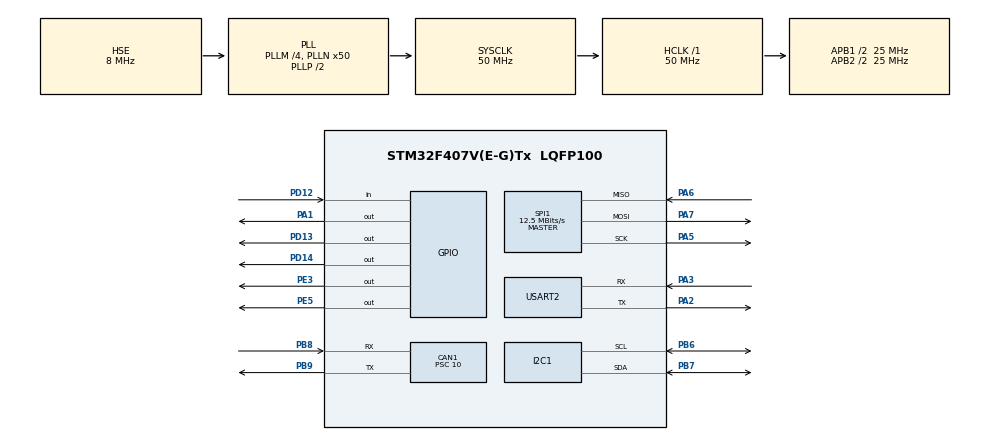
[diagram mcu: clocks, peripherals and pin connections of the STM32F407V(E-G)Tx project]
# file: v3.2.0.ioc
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CAN1.BS1=CAN_BS1_2TQ
CAN1.BS2=CAN_BS2_2TQ
CAN1.CalculateBaudRate=500000
CAN1.CalculateTimeBit=2000
CAN1.CalculateTimeQuantum=400.0
CAN1.Prescaler=10
IWDG.Prescaler=IWDG_PRESCALER_32
IWDG.Reload=2000
Mcu.Family=STM32F4
Mcu.Name=STM32F407V(E-G)Tx
Mcu.Package=LQFP100
NVIC.CAN1_RX0_IRQn=true\:0\:0\:false\:false\:true\:true\:true\:true
NVIC.PriorityGroup=NVIC_PRIORITYGROUP_0
PA1.Signal=GPIO_Output
PA2.Mode=Asynchronous
PA2.Signal=USART2_TX
PA3.Mode=Asynchronous
PA3.Signal=USART2_RX
PA5.Mode=Full_Duplex_Master
PA5.Signal=SPI1_SCK
PA6.Mode=Full_Duplex_Master
PA6.Signal=SPI1_MISO
PA7.Mode=Full_Duplex_Master
PA7.Signal=SPI1_MOSI
PB6.Mode=I2C
PB6.Signal=I2C1_SCL
PB7.Mode=I2C
PB7.Signal=I2C1_SDA
PB8.Mode=CAN_Activate
PB8.Signal=CAN1_RX
PB9.Mode=CAN_Activate
PB9.Signal=CAN1_TX
PD12.Signal=GPIO_Input
PD13.Signal=GPIO_Output
PD14.Signal=GPIO_Output
PE3.Signal=GPIO_Output
PE5.Signal=GPIO_Output
PH0-OSC_IN.Mode=HSE-External-Oscillator
PH0-OSC_IN.Signal=RCC_OSC_IN
PH1-OSC_OUT.Mode=HSE-External-Oscillator
PH1-OSC_OUT.Signal=RCC_OSC_OUT
ProjectManager.HeapSize=0x200
ProjectManager.StackSize=0x400
ProjectManager.TargetToolchain=STM32CubeIDE
RCC.48MHZClocksFreq_Value=14285714.285714285
RCC.AHBFreq_Value=50000000
RCC.APB1CLKDivider=RCC_HCLK_DIV2
RCC.APB1Freq_Value=25000000
RCC.APB1TimFreq_Value=50000000
RCC.APB2CLKDivider=RCC_HCLK_DIV2
RCC.APB2Freq_Value=25000000
RCC.APB2TimFreq_Value=50000000
RCC.CortexFreq_Value=50000000
RCC.HCLKFreq_Value=50000000
RCC.HSE_VALUE=8000000
RCC.HSI_VALUE=16000000
RCC.LSE_VALUE=32768
RCC.PLLM=4
RCC.PLLN=50
RCC.PLLQ=7
RCC.PLLSourceVirtual=RCC_PLLSOURCE_HSE
RCC.SYSCLKFreq_VALUE=50000000
RCC.SYSCLKSource=RCC_SYSCLKSOURCE_PLLCLK
RCC.VCOOutputFreq_Value=100000000
SPI1.CalculateBaudRate=12.5 MBits/s
SPI1.Direction=SPI_DIRECTION_2LINES
SPI1.Mode=SPI_MODE_MASTER
SPI1.VirtualType=VM_MASTER
TIM6.Period=0xffff-1
TIM6.Prescaler=50-1
USART2.VirtualMode=VM_ASYNC
VP_IWDG_VS_IWDG.Mode=IWDG_Activate
VP_TIM6_VS_ClockSourceINT.Mode=Enable_Timer
board=STM32F407G-DISC1

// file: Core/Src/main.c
* USER CODE BEGIN Header */
/**
  ******************************************************************************
  * @file           : main.c
  * @brief          : Main program body
  ******************************************************************************
  * @attention
  *
  * Copyright (c) 2026 STMicroelectronics.
  * All rights reserved.
  *
  * This software is licensed under terms that can be found in the LICENSE file
  * in the root directory of this software component.
  * If no LICENSE file comes with this software, it is provided AS-IS.
  *
  ******************************************************************************
  */
/* USER CODE END Header */
#include "main.h"

/* USER CODE BEGIN Includes */
#include <stdio.h>
#include "dht22.h"
#include "accel.h"
#include "hx710b.h"
#include "ina219.h"
/* USER CODE END Includes */

CAN_HandleTypeDef hcan1;

I2C_HandleTypeDef hi2c1;

IWDG_HandleTypeDef hiwdg;

SPI_HandleTypeDef hspi1;

TIM_HandleTypeDef htim6;

UART_HandleTypeDef huart2;

void SystemClock_Config(void);
static void MX_GPIO_Init(void);
static void MX_CAN1_Init(void);
static void MX_TIM6_Init(void);
static void MX_USART2_UART_Init(void);
static void MX_SPI1_Init(void);
static void MX_I2C1_Init(void);
static void MX_IWDG_Init(void);

/* USER CODE BEGIN 0 */

uint8_t checksum, i;

uint8_t TxData[8];		// Transmit data buffer

typedef enum {
	CAN_Message_Temperature 	= 0xA9,
	CAN_Message_Pressure 		= 0xAA,
	CAN_Message_Acceleration 	= 0xAB,
	CAN_Message_Battery 		= 0xAC,

}CAN_MessageID;

void Send_To_CAN(CAN_MessageID CanStdId, uint8_t * CanData, uint8_t DataLenght){
	CAN_TxHeaderTypeDef TxHeader;
	uint32_t TxMailbox;
	TxHeader.DLC = DataLenght;
	TxHeader.IDE = CAN_ID_STD;
	TxHeader.RTR = CAN_RTR_DATA;
	TxHeader.StdId = CanStdId;
	TxHeader.ExtId = 0x00;
	TxHeader.TransmitGlobalTime = DISABLE;
	if(HAL_CAN_AddTxMessage(&hcan1, &TxHeader, CanData, &TxMailbox) != HAL_OK)
		Error_Handler();

}

uint8_t IWDG_IsReset(){
	if(RCC->CSR & (1<<29))
		return 1;
	return 0;
}

/* USER CODE END 0 */

int main(void)
{

  /* USER CODE BEGIN 1 */

	char msg[64];

  /* USER CODE END 1 */

  /* MCU Configuration--------------------------------------------------------*/

  /* Reset of all peripherals, Initializes the Flash interface and the Systick. */
  HAL_Init();

  /* Configure the system clock */
  SystemClock_Config();

  /* Initialize all configured peripherals */
  MX_GPIO_Init();
  MX_CAN1_Init();
  MX_TIM6_Init();
  MX_USART2_UART_Init();
  MX_SPI1_Init();
  MX_I2C1_Init();
  INA219_init(&hi2c1);
  INA219_Calibrate(&hi2c1, 4096);
  MX_IWDG_Init();
  /* USER CODE BEGIN 2 */

  if(IWDG_IsReset()){
	  for(uint8_t i=0; i<10; i++){
		  HAL_GPIO_TogglePin(GPIOD, GPIO_PIN_14);
		  HAL_Delay(200);
	  }
  }

  if(HAL_CAN_Start(&hcan1) != HAL_OK)
	  Error_Handler();

  if(HAL_TIM_Base_Start(&htim6) != HAL_OK)   // for us Delay
  	  Error_Handler();

  LIS3DSH_Init(&hspi1, GPIOE, GPIO_PIN_3);

  sprintf(msg, "UART initialized..\r\n");
  HAL_UART_Transmit(&huart2, (uint8_t *)msg, strlen(msg), HAL_MAX_DELAY);

  /* USER CODE END 2 */

  /* Infinite loop */
  while (1)
  {

    /* USER CODE BEGIN 3 */

	 	 // Accelerometer code Start-------------------------------------------------------------------------->

		LIS3DSH_WaitForDataAvail(&hspi1, GPIOE, GPIO_PIN_3);
		LIS3DSH_ReadDataArray(&hspi1, GPIOE, GPIO_PIN_3, TxData);
		Send_To_CAN(CAN_Message_Acceleration, TxData, 6);
		HAL_Delay(3);

	  	  int16_t x = (int16_t)((TxData[1]<<8)|TxData[0]);
	  	  int16_t y = (int16_t)((TxData[3]<<8)|TxData[2]);
	  	  int16_t z = (int16_t)((TxData[5]<<8)|TxData[4]);

	  	  sprintf(msg,"x = %d, y = %d, z = %d\r\n",x,y,z);
	  	  HAL_UART_Transmit(&huart2, msg, strlen(msg), HAL_MAX_DELAY);

	  // DHT22 code Start-------------------------------------------------------------------------->

	  	  Start_Signal();
	 	  if (!check_response()) {
	 		 sprintf(msg, "No Response from the Sensor!\r\n");
	 		 HAL_UART_Transmit(&huart2,(uint8_t *)msg, strlen(msg), HAL_MAX_DELAY);
	 		 continue;
	 	  }

	 	 TxData[0] = read_byte();
	 	 TxData[1] = read_byte();
	 	 TxData[2] = read_byte();
	 	 TxData[3] = read_byte();
	 	 checksum = read_byte();

	 	 if (checksum != ((TxData[0] + TxData[1] + TxData[2] + TxData[3]) & 0xFF)) {
	 		 sprintf(msg, "Checksum Error!\r\n");
	 		 HAL_UART_Transmit(&huart2, (uint8_t *)msg, strlen(msg), HAL_MAX_DELAY);
	 		HAL_Delay(1000);
	 		 continue;
	 	 }

	 	 Send_To_CAN(CAN_Message_Temperature, TxData, 4);
	 	HAL_Delay(3);

	 	sprintf(msg,
	 	        "RH: %d%%, Temp: %dC\r\n",
	 	        TxData[0],
	 	        TxData[2]);
	 	HAL_UART_Transmit(&huart2,
	 	                  (uint8_t *)msg,
	 	                  strlen(msg),
	 	                  HAL_MAX_DELAY);
	 	HAL_Delay(500);

	 	 // DHT22 code end-------------------------------------------------------------------------->

	 	 // hx710b code start-------------------------------------------------------------------------->

	 	uint32_t hx710b_data = convertToPa( readHX710B());
	 	sprintf(msg, "Pressure = %lu Pa\r\n", (unsigned long)hx710b_data);
	 	HAL_UART_Transmit(&huart2,
	 	                  (uint8_t *)msg,
	 	                  strlen(msg),
	 	                  HAL_MAX_DELAY);
//
	 	TxData[0]= (uint8_t)(hx710b_data >> 16) & 0xFFFF;
	 	TxData[1]= (uint8_t)(hx710b_data >> 8) & 0xFFFF;
	 	TxData[2]= (uint8_t) hx710b_data & 0xFFFF;
//
	 	Send_To_CAN(CAN_Message_Pressure, TxData, 3);

	 	// hx710b code end-------------------------------------------------------------------------->

	 	// ina219 code start-------------------------------------------------------------------------->
	 	float voltage = INA219_GetBusVoltage(&hi2c1);
	 	float current = INA219_GetCurrent(&hi2c1);

	 	sprintf(msg, "Voltage=%d Current=%.4fA\r\n",(int)(voltage * 100),current);

	 	HAL_UART_Transmit(&huart2,
	 	                  (uint8_t *)msg,
	 	                  strlen(msg),
	 	                  HAL_MAX_DELAY);

	 	uint16_t voltage_mV = (uint16_t)(voltage * 1000);
	 	int16_t current_mA  = (int16_t)(current * 1000);

	 	TxData[0] = voltage_mV >> 8;
	 	TxData[1] = voltage_mV & 0xFF;

	 	TxData[2] = current_mA >> 8;
	 	TxData[3] = current_mA & 0xFF;

	 	Send_To_CAN(CAN_Message_Battery, TxData, 4);

	 	// ina219 code end-------------------------------------------------------------------------->

	 	HAL_IWDG_Refresh(&hiwdg);

  }
  /* USER CODE END 3 */
}

void SystemClock_Config(void)
{
  RCC_OscInitTypeDef RCC_OscInitStruct = {0};
  RCC_ClkInitTypeDef RCC_ClkInitStruct = {0};

  /** Configure the main internal regulator output voltage
  */
  __HAL_RCC_PWR_CLK_ENABLE();
  __HAL_PWR_VOLTAGESCALING_CONFIG(PWR_REGULATOR_VOLTAGE_SCALE1);

  /** Initializes the RCC Oscillators according to the specified parameters
  * in the RCC_OscInitTypeDef structure.
  */
  RCC_OscInitStruct.OscillatorType = RCC_OSCILLATORTYPE_LSI|RCC_OSCILLATORTYPE_HSE;
  RCC_OscInitStruct.HSEState = RCC_HSE_ON;
  RCC_OscInitStruct.LSIState = RCC_LSI_ON;
  RCC_OscInitStruct.PLL.PLLState = RCC_PLL_ON;
  RCC_OscInitStruct.PLL.PLLSource = RCC_PLLSOURCE_HSE;
  RCC_OscInitStruct.PLL.PLLM = 4;
  RCC_OscInitStruct.PLL.PLLN = 50;
  RCC_OscInitStruct.PLL.PLLP = RCC_PLLP_DIV2;
  RCC_OscInitStruct.PLL.PLLQ = 7;
  if (HAL_RCC_OscConfig(&RCC_OscInitStruct) != HAL_OK)
  {
    Error_Handler();
  }

  /** Initializes the CPU, AHB and APB buses clocks
  */
  RCC_ClkInitStruct.ClockType = RCC_CLOCKTYPE_HCLK|RCC_CLOCKTYPE_SYSCLK
                              |RCC_CLOCKTYPE_PCLK1|RCC_CLOCKTYPE_PCLK2;
  RCC_ClkInitStruct.SYSCLKSource = RCC_SYSCLKSOURCE_PLLCLK;
  RCC_ClkInitStruct.AHBCLKDivider = RCC_SYSCLK_DIV1;
  RCC_ClkInitStruct.APB1CLKDivider = RCC_HCLK_DIV2;
  RCC_ClkInitStruct.APB2CLKDivider = RCC_HCLK_DIV2;

  if (HAL_RCC_ClockConfig(&RCC_ClkInitStruct, FLASH_LATENCY_1) != HAL_OK)
  {
    Error_Handler();
  }
}

static void MX_CAN1_Init(void)
{

  hcan1.Instance = CAN1;
  hcan1.Init.Prescaler = 10;
  hcan1.Init.Mode = CAN_MODE_NORMAL;
  hcan1.Init.SyncJumpWidth = CAN_SJW_1TQ;
  hcan1.Init.TimeSeg1 = CAN_BS1_2TQ;
  hcan1.Init.TimeSeg2 = CAN_BS2_2TQ;
  hcan1.Init.TimeTriggeredMode = DISABLE;
  hcan1.Init.AutoBusOff = DISABLE;
  hcan1.Init.AutoWakeUp = DISABLE;
  hcan1.Init.AutoRetransmission = DISABLE;
  hcan1.Init.ReceiveFifoLocked = DISABLE;
  hcan1.Init.TransmitFifoPriority = DISABLE;
  if (HAL_CAN_Init(&hcan1) != HAL_OK)
  {
    Error_Handler();
  }

}

static void MX_I2C1_Init(void)
{

  hi2c1.Instance = I2C1;
  hi2c1.Init.ClockSpeed = 100000;
  hi2c1.Init.DutyCycle = I2C_DUTYCYCLE_2;
  hi2c1.Init.OwnAddress1 = 0;
  hi2c1.Init.AddressingMode = I2C_ADDRESSINGMODE_7BIT;
  hi2c1.Init.DualAddressMode = I2C_DUALADDRESS_DISABLE;
  hi2c1.Init.OwnAddress2 = 0;
  hi2c1.Init.GeneralCallMode = I2C_GENERALCALL_DISABLE;
  hi2c1.Init.NoStretchMode = I2C_NOSTRETCH_DISABLE;
  if (HAL_I2C_Init(&hi2c1) != HAL_OK)
  {
    Error_Handler();
  }

}

static void MX_IWDG_Init(void)
{

  hiwdg.Instance = IWDG;
  hiwdg.Init.Prescaler = IWDG_PRESCALER_32;
  hiwdg.Init.Reload = 2000;
  if (HAL_IWDG_Init(&hiwdg) != HAL_OK)
  {
    Error_Handler();
  }

}

static void MX_SPI1_Init(void)
{

  /* SPI1 parameter configuration*/
  hspi1.Instance = SPI1;
  hspi1.Init.Mode = SPI_MODE_MASTER;
  hspi1.Init.Direction = SPI_DIRECTION_2LINES;
  hspi1.Init.DataSize = SPI_DATASIZE_8BIT;
  hspi1.Init.CLKPolarity = SPI_POLARITY_LOW;
  hspi1.Init.CLKPhase = SPI_PHASE_1EDGE;
  hspi1.Init.NSS = SPI_NSS_SOFT;
  hspi1.Init.BaudRatePrescaler = SPI_BAUDRATEPRESCALER_2;
  hspi1.Init.FirstBit = SPI_FIRSTBIT_MSB;
  hspi1.Init.TIMode = SPI_TIMODE_DISABLE;
  hspi1.Init.CRCCalculation = SPI_CRCCALCULATION_DISABLE;
  hspi1.Init.CRCPolynomial = 10;
  if (HAL_SPI_Init(&hspi1) != HAL_OK)
  {
    Error_Handler();
  }

}

static void MX_TIM6_Init(void)
{

  TIM_MasterConfigTypeDef sMasterConfig = {0};

  htim6.Instance = TIM6;
  htim6.Init.Prescaler = 50-1;
  htim6.Init.CounterMode = TIM_COUNTERMODE_UP;
  htim6.Init.Period = 0xffff-1;
  htim6.Init.AutoReloadPreload = TIM_AUTORELOAD_PRELOAD_DISABLE;
  if (HAL_TIM_Base_Init(&htim6) != HAL_OK)
  {
    Error_Handler();
  }
  sMasterConfig.MasterOutputTrigger = TIM_TRGO_RESET;
  sMasterConfig.MasterSlaveMode = TIM_MASTERSLAVEMODE_DISABLE;
  if (HAL_TIMEx_MasterConfigSynchronization(&htim6, &sMasterConfig) != HAL_OK)
  {
    Error_Handler();
  }

}

static void MX_USART2_UART_Init(void)
{

  huart2.Instance = USART2;
  huart2.Init.BaudRate = 115200;
  huart2.Init.WordLength = UART_WORDLENGTH_8B;
  huart2.Init.StopBits = UART_STOPBITS_1;
  huart2.Init.Parity = UART_PARITY_NONE;
  huart2.Init.Mode = UART_MODE_TX_RX;
  huart2.Init.HwFlowCtl = UART_HWCONTROL_NONE;
  huart2.Init.OverSampling = UART_OVERSAMPLING_16;
  if (HAL_UART_Init(&huart2) != HAL_OK)
  {
    Error_Handler();
  }

}

static void MX_GPIO_Init(void)
{
  GPIO_InitTypeDef GPIO_InitStruct = {0};

  /* GPIO Ports Clock Enable */
  __HAL_RCC_GPIOE_CLK_ENABLE();
  __HAL_RCC_GPIOH_CLK_ENABLE();
  __HAL_RCC_GPIOA_CLK_ENABLE();
  __HAL_RCC_GPIOD_CLK_ENABLE();
  __HAL_RCC_GPIOB_CLK_ENABLE();

  /*Configure GPIO pin Output Level */
  HAL_GPIO_WritePin(GPIOE, GPIO_PIN_3|GPIO_PIN_5, GPIO_PIN_RESET);

  /*Configure GPIO pin Output Level */
  HAL_GPIO_WritePin(GPIOA, GPIO_PIN_1, GPIO_PIN_RESET);

  /*Configure GPIO pin Output Level */
  HAL_GPIO_WritePin(GPIOD, GPIO_PIN_13|GPIO_PIN_14, GPIO_PIN_RESET);

  /*Configure GPIO pins : PE3 PE5 */
  GPIO_InitStruct.Pin = GPIO_PIN_3|GPIO_PIN_5;
  GPIO_InitStruct.Mode = GPIO_MODE_OUTPUT_PP;
  GPIO_InitStruct.Pull = GPIO_NOPULL;
  GPIO_InitStruct.Speed = GPIO_SPEED_FREQ_LOW;
  HAL_GPIO_Init(GPIOE, &GPIO_InitStruct);

  /*Configure GPIO pin : PA1 */
  GPIO_InitStruct.Pin = GPIO_PIN_1;
  GPIO_InitStruct.Mode = GPIO_MODE_OUTPUT_PP;
  GPIO_InitStruct.Pull = GPIO_NOPULL;
  GPIO_InitStruct.Speed = GPIO_SPEED_FREQ_LOW;
  HAL_GPIO_Init(GPIOA, &GPIO_InitStruct);

  /*Configure GPIO pin : PD12 */
  GPIO_InitStruct.Pin = GPIO_PIN_12;
  GPIO_InitStruct.Mode = GPIO_MODE_INPUT;
  GPIO_InitStruct.Pull = GPIO_NOPULL;
  HAL_GPIO_Init(GPIOD, &GPIO_InitStruct);

  /*Configure GPIO pins : PD13 PD14 */
  GPIO_InitStruct.Pin = GPIO_PIN_13|GPIO_PIN_14;
  GPIO_InitStruct.Mode = GPIO_MODE_OUTPUT_PP;
  GPIO_InitStruct.Pull = GPIO_NOPULL;
  GPIO_InitStruct.Speed = GPIO_SPEED_FREQ_LOW;
  HAL_GPIO_Init(GPIOD, &GPIO_InitStruct);

}

void Error_Handler(void)
{
  __disable_irq();
  while (1)
  {
  }
}
